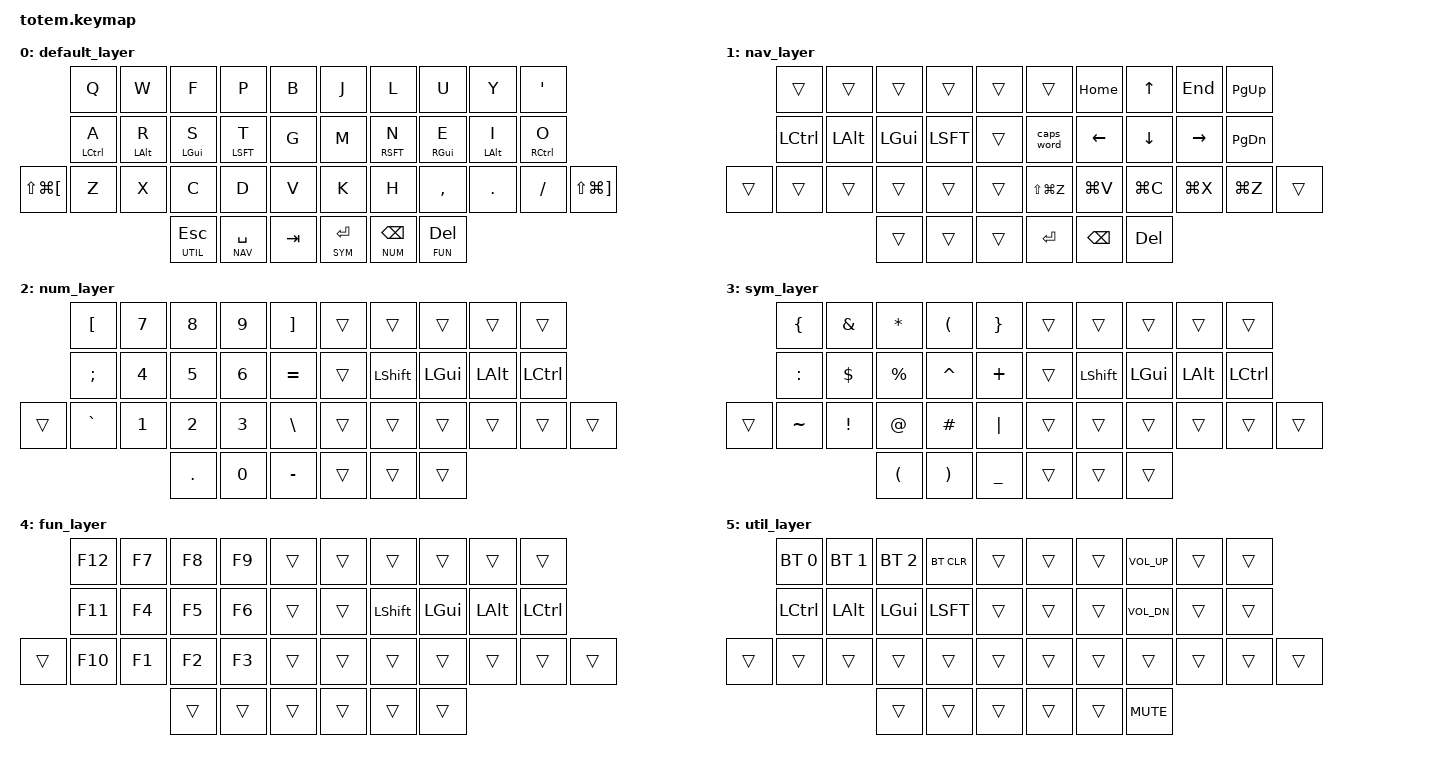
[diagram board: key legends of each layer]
// Copyright (c) 2022 The ZMK Contributors
// SPDX-License-Identifier: MIT

#include "../zmk-nodefree-config/helper.h"
#include "../zmk-nodefree-config/keypos_def/keypos_38keys.h"
#include <behaviors.dtsi>
#include <dt-bindings/zmk/keys.h>
#include <dt-bindings/zmk/bt.h>
#include <dt-bindings/zmk/dynamic-macros.h>

#define XXX &none
#define TODO ___
#define ___ &trans

#define BASE 0
#define NAV 1
#define NUM 2
#define SYM 3
#define FUN 4
#define UTIL 5

#define S_UNDO &kp LG(Z)
#define S_CUT &kp LG(X)
#define S_COPY &kp LG(C)
#define S_PASTE &kp LG(V)
#define S_REDO &kp LS(LG(Z))

// navigation bindings for back/forward and prev tab/next tab
//#define BACK &kp LG(LBKT)
//#define FWD &kp LG(RBKT)
#define PTAB &kp LS(LG(LBKT))
#define NTAB &kp LS(LG(RBKT))

// hyper and meh keys
#define HYP LS(LC(LA(LGUI)))
#define MEH LS(LC(LA))


/* ------------------------ general config ----------------------- */
// smart-layer config
&caps_word {  
    // /delete-property/ ignore-modifiers; // mods deactivate, requires PR #1451
    /delete-property/ ignore-numbers;
    continue-list = <BACKSPACE ENTER DELETE UNDERSCORE MINUS>;
};

// key-repeat config
&key_repeat {
    usage-pages = <HID_USAGE_KEY HID_USAGE_CONSUMER>; // repeat all keys
};

// default layer-tap config
&lt {  
    flavor = "balanced";
    tapping-term-ms = <200>;
};

// dynamci macros, requires PR #1351
ZMK_BEHAVIOR(dyn_macro, dynamic_macro, wait-ms = <10>;)

/* ------------------------------ home row mods ----------------------------- */
#define KEYS_L LT0 LT1 LT2 LT3 LT4 LM0 LM1 LM2 LM3 LM4 LB0 LB1 LB2 LB3 LB4 LH4 // left hand
#define KEYS_R RT0 RT1 RT2 RT3 RT4 RM0 RM1 RM2 RM3 RM4 RB0 RB1 RB2 RB3 RB4 RH4 // right hand
#define THUMBS LH2 LH1 LH0 RH0 RH1 RH2                             // thumbs

// 280, 150
#define MAKE_HRM(NAME, HOLD, TAP, TRIGGER_POS, EXTRA) \
    ZMK_BEHAVIOR(NAME, hold_tap, \
        flavor = "tap-preferred"; \
        tapping-term-ms = <170>; \
        quick-tap-ms = <100>; \
        global-quick-tap-ms = <200>; \
        bindings = <HOLD>, <TAP>; \
        hold-trigger-key-positions = <TRIGGER_POS>; \
        hold-trigger-on-release; \
        EXTRA \
    )
MAKE_HRM(hml, &kp, &kp, KEYS_R THUMBS, hold-while-undecided;)  // left-hand HRMs
MAKE_HRM(hmr, &kp, &kp, KEYS_L THUMBS, hold-while-undecided;)  // right-hand HRMs

/ {
    combos {
        compatible = "zmk,combos";
        combo_capsword {
            timeout-ms = <50>;
            key-positions = <13 16>;
            bindings = <&caps_word>;
        };
    };
// TODO: Add hyper key as HRM
    keymap {
        compatible = "zmk,keymap";
        default_layer { // ColemakDHm
            bindings = <
            &kp Q        &kp W        &kp F           &kp P           &kp B              &kp J         &kp L             &kp U           &kp Y         &kp APOS 
            &hml LCTL A  &hml LALT R  &hml LGUI S     &hml LSFT T     &kp G              &kp M         &hmr RSFT N       &hmr RGUI E     &hmr LALT I   &hmr RCTL O
    PTAB    &kp Z        &kp X        &kp C           &kp D           &kp V              &kp K         &kp H             &kp COMMA       &kp DOT       &kp FSLH        NTAB
                                      &lt UTIL ESC    &lt NAV SPACE   &kp TAB            &lt SYM RET   &lt NUM BSPC      &lt FUN DEL
            >;
        };
        nav_layer { 
            bindings = <
            ___          ___          ___             ___             ___                ___           &kp HOME          &kp UP          &kp END       &kp PAGE_UP 
            &kp LCTL     &kp LALT     &kp LGUI        &kp LSFT        ___                &caps_word    &kp LEFT          &kp DOWN        &kp RIGHT     &kp PAGE_DOWN
    ___     ___          ___          ___             ___             ___                S_REDO        S_PASTE           S_COPY          S_CUT         S_UNDO          ___
                                      ___             ___             ___                &kp RET       &kp BSPC          &kp DEL
            >;
        }; 
        num_layer {
            bindings = <
            &kp LBKT     &kp N7       &kp N8          &kp  N9         &kp RBKT           ___           ___               ___             ___           ___ 
            &kp SEMI     &kp N4       &kp N5          &kp  N6         &kp EQUAL          ___           &kp LSHFT         &kp LGUI        &kp LALT      &kp LCTRL
    ___     &kp GRAVE    &kp N1       &kp N2          &kp  N3         &kp BSLH           ___           ___               ___             ___           ___             ___
                                      &kp DOT         &kp  N0         &kp MINUS          ___           ___               ___
            >;
        };
        sym_layer {
            bindings = <
            &kp LBRC     &kp AMPS     &kp STAR        &kp LPAR        &kp RBRC           ___           ___               ___             ___           ___
            &kp COLON    &kp DOLLAR   &kp PERCENT     &kp CARET       &kp PLUS           ___           &kp LSHFT         &kp LGUI        &kp LALT      &kp LCTRL 
    ___     &kp TILDE    &kp EXCL     &kp AT          &kp HASH        &kp PIPE           ___           ___               ___             ___           ___             ___
                                      &kp LPAR        &kp RPAR        &kp UNDER          ___           ___               ___                   
            >;
        };
        fun_layer {
            bindings = <
            &kp F12      &kp F7       &kp F8          &kp F9          ___                ___           ___               ___             ___           ___
            &kp F11      &kp F4       &kp F5          &kp F6          ___                ___           &kp LSHFT         &kp LGUI        &kp LALT      &kp LCTRL 
    ___     &kp F10      &kp F1       &kp F2          &kp F3          ___                ___           ___               ___             ___           ___             ___
                                      ___             ___             ___                ___           ___               ___
            >;
        };
        util_layer {
            bindings = <
            &bt BT_SEL 0 &bt BT_SEL 1 &bt BT_SEL 2    &bt BT_CLR      ___                ___           ___               &kp C_VOL_UP    ___           ___
            &kp LCTL     &kp LALT     &kp LGUI        &kp LSFT        ___                ___           ___               &kp C_VOL_DN    ___           ___ 
    ___     ___          ___          ___             ___             ___                ___           ___               ___             ___           ___             ___
                                      ___             ___             ___                ___           ___               &kp C_MUTE
            >;
        };  
    };
};
    
/* --------------------------------- combos --------------------------------- */
/*
   ╭────────────────────┬────────────────────╮     ╭─────────────────────┬─────────────────────╮
   │  0   1   2   3   4 │  5   6   7   8   9 │     │ LT4 LT3 LT2 LT1 LT0 │ RT0 RT1 RT2 RT3 RT4 │
   │ 10  11  12  13  14 │ 15  16  17  18  19 │     │ LM4 LM3 LM2 LM1 LM0 │ RM0 RM1 RM2 RM3 RM4 │
  20 21  22  23  24  25 │ 26  27  28  29  30 31  LB5 LB4 LB3 LB2 LB1 LB0 │ RB0 RB1 RB2 RB3 RB4 RB5
   ╰───────╮ 32  33  34 │ 35  36  37 ╭───────╯     ╰───────╮ LH2 LH1 LH0 │ RH0 RH1 RH2 ╭───────╯
           ╰────────────┴────────────╯                     ╰─────────────┴─────────────╯             */
// use global-quick-tap-ms for combos (requires PR 1387)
